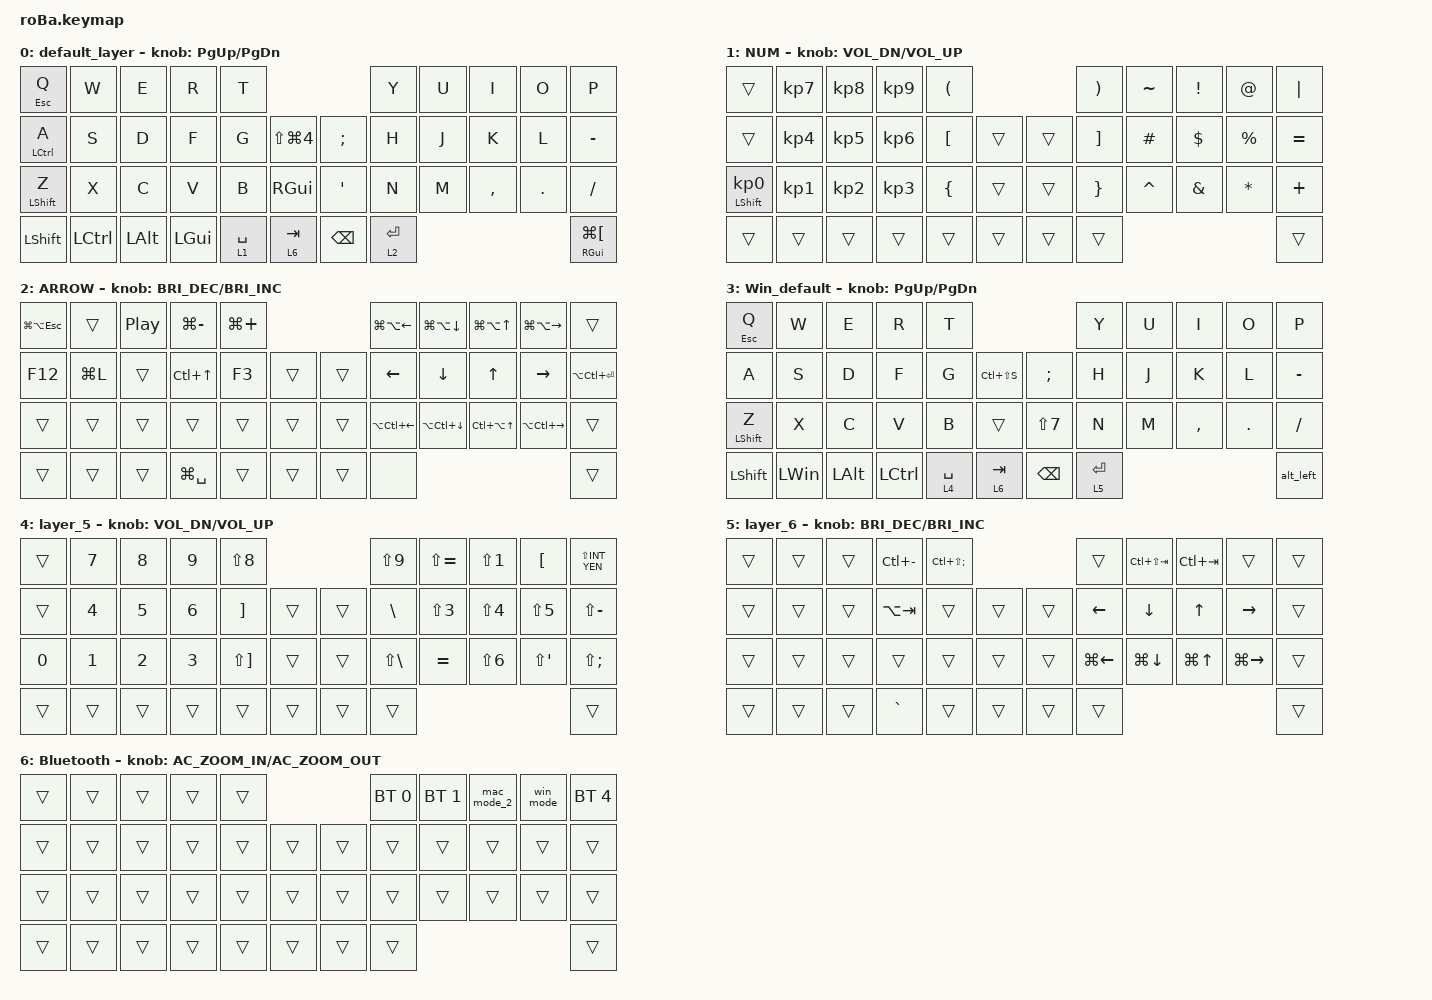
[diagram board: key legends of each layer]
#include <behaviors.dtsi>
#include <dt-bindings/zmk/bt.h>
#include <dt-bindings/zmk/keys.h>
#include <dt-bindings/zmk/pointing.h>

&mt {
    flavor = "balanced";
    quick-tap-ms = <0>;
};

&trackball {
    // automouse-layer は無効化(ドライバの default -1 = 機能OFF)。
    // 以前は Win_default レイヤーを指しており、win_mode で切り替えた直後に
    // トラックボールのタイムアウト処理が同じレイヤーを無効化してしまい、
    // layer 0 に戻ってしまう原因になっていた。
    // layer 1 = Mac側のNUM、layer 4 = Win側のNUM。両方でスクロールできるようにする。

    scroll-layers = <1 4>;

    // arrows {
    //     layers = <3>;
    //     bindings =
    //         <&kp RIGHT_ARROW>,
    //         <&kp LEFT_ARROW>,
    //         <&kp UP_ARROW>,
    //         <&kp DOWN_ARROW>;
    //     tick = <10>;
    //     wait-ms = <5>;
    //     tap-ms = <5>;
    // };
};

/ {
    combos {
        compatible = "zmk,combos";

        l_click {
            bindings = <&mkp MB1>;
            key-positions = <18 19>;
        };

        r_click {
            bindings = <&mkp MB2>;
            key-positions = <19 20>;
        };
    };

    macros {
        mac_mode: mac_mode {
            compatible = "zmk,behavior-macro";
            #binding-cells = <0>;
            bindings = <&bt BT_SEL 0 &to 0>;
            label = "MAC_MODE";
        };

        mac_mode_2: win_mode_2 {
            compatible = "zmk,behavior-macro";
            #binding-cells = <0>;
            bindings = <&bt BT_SEL 2 &to 0>;
            label = "WIN_MODE_2";
        };

        // ブラウザの「戻る」(Alt + ←)。
        // &kp LA(LEFT_ARROW) だと修飾キーとキーコードが同じHIDレポートで
        // 同時に送られ、Windows側が矢印キーを先に処理して素の左矢印に
        // なってしまうことがある。Altを先に送る3段階に分けて回避する。
        // BLE経由でレポートが並び替わらないよう 30ms 確保している。

        alt_left: alt_left {
            compatible = "zmk,behavior-macro";
            #binding-cells = <0>;
            wait-ms = <30>;
            tap-ms = <30>;
            bindings =
                <&macro_press>,
                <&kp LALT>,
                <&macro_tap>,
                <&kp LEFT_ARROW>,
                <&macro_release>,
                <&kp LALT>;

            label = "ALT_LEFT";
        };

        win_mode: win_mode {
            compatible = "zmk,behavior-macro";
            #binding-cells = <0>;
            bindings = <&bt BT_SEL 3 &to 3>;
            label = "WIN_MODE";
        };
    };

    keymap {
        compatible = "zmk,keymap";

        default_layer {
            bindings = <
&mt ESCAPE Q        &kp W      &kp E         &kp R         &kp T                                                 &kp Y        &kp U  &kp I      &kp O    &kp P
&mt LEFT_CONTROL A  &kp S      &kp D         &kp F         &kp G        &kp LS(LG(NUMBER_4))      &kp SEMICOLON  &kp H        &kp J  &kp K      &kp L    &kp MINUS
&mt LEFT_SHIFT Z    &kp X      &kp C         &kp V         &kp B        &kp RIGHT_GUI             &kp SQT        &kp N        &kp M  &kp COMMA  &kp DOT  &kp SLASH
&kp LEFT_SHIFT      &kp LCTRL  &kp LEFT_ALT  &kp LEFT_GUI  &lt 1 SPACE  &lt 6 TAB                 &kp BACKSPACE  &lt 2 ENTER                             &mt RIGHT_GUI LG(LEFT_BRACKET)
            >;

            sensor-bindings = <&inc_dec_kp PAGE_UP PAGE_DOWN>;
        };

        NUM {
            bindings = <
&trans                      &kp KP_NUMBER_7  &kp KP_NUMBER_8  &kp KP_NUMBER_9  &kp LEFT_PARENTHESIS                      &kp RIGHT_PARENTHESIS  &kp TILDE  &kp EXCL       &kp AT_SIGN   &kp PIPE
&trans                      &kp KP_NUMBER_4  &kp KP_NUMBER_5  &kp KP_NUMBER_6  &kp LEFT_BRACKET      &trans      &trans  &kp RIGHT_BRACKET      &kp HASH   &kp DOLLAR     &kp PERCENT   &kp EQUAL
&mt LEFT_SHIFT KP_NUMBER_0  &kp KP_NUMBER_1  &kp KP_NUMBER_2  &kp KP_NUMBER_3  &kp LEFT_BRACE        &trans      &trans  &kp RIGHT_BRACE        &kp CARET  &kp AMPERSAND  &kp ASTERISK  &kp PLUS
&trans                      &trans           &trans           &trans           &trans                &trans      &trans  &trans                                                         &trans
            >;

            sensor-bindings = <&inc_dec_kp C_VOL_DN C_VOLUME_UP>;
        };

        ARROW {
            bindings = <
&kp LG(LA(ESCAPE))  &trans     &kp C_PLAY_PAUSE  &kp LG(MINUS)     &kp LG(PLUS)                      &kp LG(LA(LEFT_ARROW))  &kp LG(LA(DOWN_ARROW))  &kp LG(LA(UP_ARROW))  &kp LG(LA(RIGHT_ARROW))  &trans
&kp F12             &kp LG(L)  &trans            &kp LC(UP_ARROW)  &kp F3        &trans      &trans  &kp LEFT_ARROW          &kp DOWN_ARROW          &kp UP_ARROW          &kp RIGHT                &kp LA(LC(ENTER))
&trans              &trans     &trans            &trans            &trans        &trans      &trans  &kp LA(LC(LEFT_ARROW))  &kp LA(LC(DOWN_ARROW))  &kp LC(LA(UP_ARROW))  &kp LA(LC(RIGHT))        &trans
&trans              &trans     &trans            &kp LG(SPACE)     &trans        &trans      &trans  &none                                                                                          &trans
            >;

            sensor-bindings = <&inc_dec_kp C_BRIGHTNESS_DEC C_BRIGHTNESS_INC>;
        };

        Win_default {
            bindings = <
&mt ESC Q         &kp W         &kp E         &kp R             &kp T                                          &kp Y        &kp U  &kp I      &kp O       &kp P
&kp A             &kp S         &kp D         &kp F             &kp G        &kp LC(LS(S))      &kp SEMICOLON  &kp H        &kp J  &kp K      &kp L       &kp MINUS
&mt LEFT_SHIFT Z  &kp X         &kp C         &kp V             &kp B        &trans             &kp LS(N7)     &kp N        &kp M  &kp COMMA  &kp PERIOD  &kp SLASH
&kp LEFT_SHIFT    &kp LEFT_WIN  &kp LEFT_ALT  &kp LEFT_CONTROL  &lt 4 SPACE  &lt 6 TAB          &kp BACKSPACE  &lt 5 ENTER                                &alt_left
            >;

            sensor-bindings = <&inc_dec_kp PAGE_UP PAGE_DOWN>;
        };

        // Windows 側の数字・記号レイヤー。
        // Windows のキーボードレイアウトが日本語(106/109)のため、ZMK が送る
        // US配列のスキャンコードは JIS として解釈される。見た目のキーコード名と
        // 実際に出る文字が一致しないので、下記の対応で「出したい文字」から
        // 逆算した名前を指定している(コメントの文字が実際に出るもの)。
        //
        //   LS(N2)=" LS(N6)=& LS(N7)=' LS(N8)=( LS(N9)=)
        //   EQUAL=^ LS(EQUAL)=~ LS(MINUS)==
        //   LEFT_BRACKET=@ LS(LEFT_BRACKET)=`
        //   RIGHT_BRACKET=[ LS(RIGHT_BRACKET)={
        //   BACKSLASH=] LS(BACKSLASH)=}
        //   SEMICOLON=; LS(SEMICOLON)=+  SQT=: LS(SQT)=*
        //   INT_YEN=¥ LS(INT_YEN)=|  INT_RO=\ LS(INT_RO)=_
        //   数字と ! # $ % , . / - は US と同じ
        //
        // 数字は KP_NUMBER_* (テンキー) から N* (数字段) に変更。
        // テンキーは Windows で NumLock が OFF だとカーソル移動になり
        // 数字が打てないため。

        layer_5 {
            bindings = <
&trans  &kp N7  &kp N8  &kp N9  &kp LS(N8)                                 &kp LS(N9)         &kp LS(EQUAL)  &kp LS(N1)  &kp LEFT_BRACKET  &kp LS(INT_YEN)
&trans  &kp N4  &kp N5  &kp N6  &kp RIGHT_BRACKET      &trans      &trans  &kp BACKSLASH      &kp LS(N3)     &kp LS(N4)  &kp LS(N5)        &kp LS(MINUS)
&kp N0  &kp N1  &kp N2  &kp N3  &kp LS(RIGHT_BRACKET)  &trans      &trans  &kp LS(BACKSLASH)  &kp EQUAL      &kp LS(N6)  &kp LS(SQT)       &kp LS(SEMICOLON)
&trans  &trans  &trans  &trans  &trans                 &trans      &trans  &trans                                                          &trans
            >;

            sensor-bindings = <&inc_dec_kp C_VOL_DN C_VOL_UP>;
        };

        layer_6 {
            bindings = <
&trans  &trans  &trans  &kp LC(MINUS)  &kp LC(LS(SEMICOLON))                      &trans              &kp LC(LS(TAB))     &kp LC(TAB)       &trans               &trans
&trans  &trans  &trans  &kp LA(TAB)    &trans                 &trans      &trans  &kp LEFT_ARROW      &kp DOWN_ARROW      &kp UP_ARROW      &kp RIGHT_ARROW      &trans
&trans  &trans  &trans  &trans         &trans                 &trans      &trans  &kp LG(LEFT_ARROW)  &kp LG(DOWN_ARROW)  &kp LG(UP_ARROW)  &kp LG(RIGHT_ARROW)  &trans
&trans  &trans  &trans  &kp GRAVE      &trans                 &trans      &trans  &trans                                                                         &trans
            >;

            sensor-bindings = <&inc_dec_kp C_BRIGHTNESS_DEC C_BRI_INC>;
        };

        Bluetooth {
            bindings = <
&trans  &trans  &trans  &trans  &trans                      &bt BT_SEL 0  &bt BT_SEL 1  &mac_mode_2  &win_mode  &bt BT_SEL 4
&trans  &trans  &trans  &trans  &trans  &trans      &trans  &trans        &trans        &trans       &trans     &trans
&trans  &trans  &trans  &trans  &trans  &trans      &trans  &trans        &trans        &trans       &trans     &trans
&trans  &trans  &trans  &trans  &trans  &trans      &trans  &trans                                              &trans
            >;

            sensor-bindings = <&inc_dec_kp C_AC_ZOOM_IN C_AC_ZOOM_OUT>;
        };
    };
};
